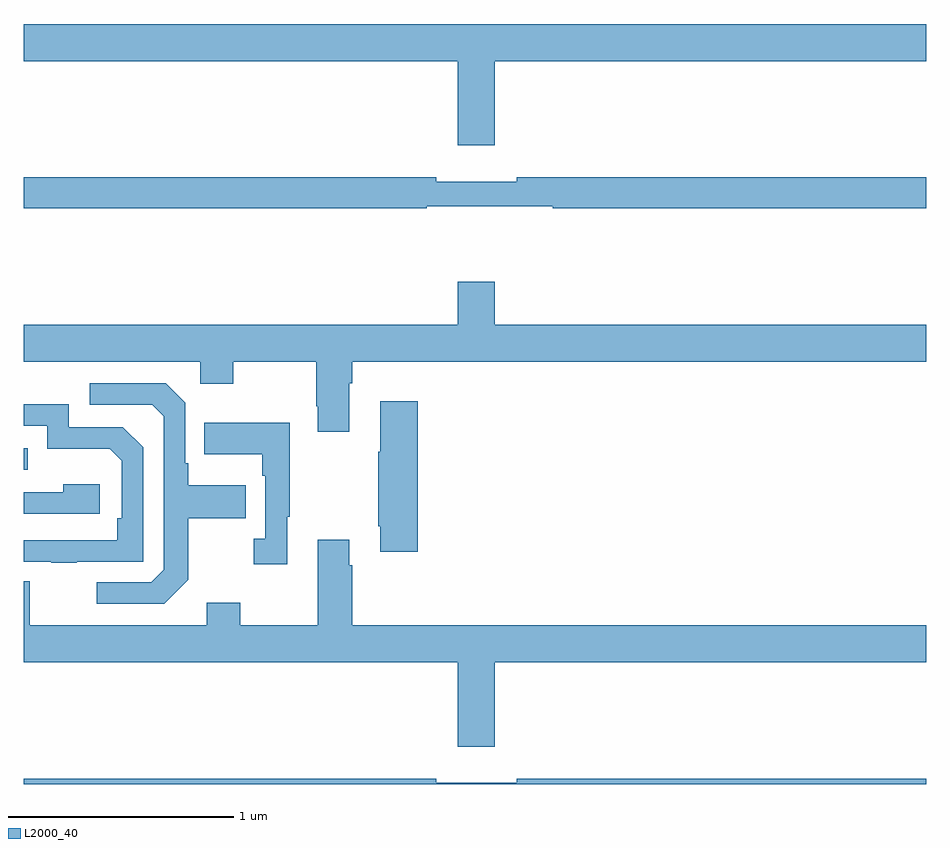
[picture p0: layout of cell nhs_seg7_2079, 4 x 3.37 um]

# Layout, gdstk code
import gdstk
lib = gdstk.Library(unit=1e-6, precision=1e-09)
def R(c, l, rs):  # rectangles x0, y0, x1, y1
    for r in rs: c.add(gdstk.rectangle(r[:2], r[2:], *l))
def P(c, l, *ps):  # polygons
    for p in ps: c.add(gdstk.Polygon(p, *l))
L2000_40 = (2000, 40)

nhs_seg7_2079 = lib.new_cell('nhs_seg7_2079')
R(nhs_seg7_2079, L2000_40, [(247,1077.393,247.019,1077.489)])
P(nhs_seg7_2079, L2000_40, [(249.088,1079.204),(251,1079.204),(251,1079.368),(247,1079.368),(247,1079.204),(248.924,1079.204),(248.924,1078.83),(249.088,1078.83)],
  [(248.787,1078.56),(249.345,1078.56),(249.345,1078.552),(251,1078.552),(251,1078.688),(249.184,1078.688),(249.184,1078.669),(248.828,1078.669),(248.828,1078.688),(247,1078.688),(247,1078.552),(248.787,1078.552)],
  [(248.443,1077.776),(248.456,1077.776),(248.456,1077.872),(251,1077.872),(251,1078.036),(249.088,1078.036),(249.088,1078.225),(248.924,1078.225),(248.924,1078.036),(247,1078.036),(247,1077.872),(247.782,1077.872),(247.782,1077.773),(247.929,1077.773),(247.929,1077.872),(248.296,1077.872),(248.296,1077.673),(248.303,1077.673),(248.303,1077.561),(248.443,1077.561)],
  [(247.729,1076.905),(247.729,1077.178),(247.985,1077.178),(247.985,1077.325),(247.729,1077.325),(247.729,1077.421),(247.716,1077.421),(247.716,1077.69),(247.629,1077.777),(247.293,1077.777),(247.293,1077.681),(247.569,1077.681),(247.62,1077.63),(247.62,1076.949),(247.566,1076.895),(247.323,1076.895),(247.323,1076.799),(247.623,1076.799)],
  [(248.747,1077.697),(248.579,1077.697),(248.579,1077.473),(248.572,1077.473),(248.572,1077.142),(248.579,1077.142),(248.579,1077.03),(248.747,1077.03)],
  [(247.235,1076.985),(247.53,1076.985),(247.53,1077.492),(247.44,1077.582),(247.2,1077.582),(247.2,1077.684),(247,1077.684),(247,1077.588),(247.104,1077.588),(247.104,1077.485),(247.381,1077.485),(247.434,1077.432),(247.434,1077.178),(247.414,1077.178),(247.414,1077.081),(247,1077.081),(247,1076.985),(247.123,1076.985),(247.123,1076.98),(247.235,1076.98)],
  [(248.167,1077.185),(248.179,1077.185),(248.179,1077.601),(247.801,1077.601),(247.801,1077.461),(248.058,1077.461),(248.058,1077.365),(248.07,1077.365),(248.07,1077.086),(248.019,1077.086),(248.019,1076.973),(248.167,1076.973)],
  [(247.336,1077.328),(247.175,1077.328),(247.175,1077.294),(247,1077.294),(247,1077.198),(247.336,1077.198)],
  [(249.088,1076.54),(251,1076.54),(251,1076.704),(248.456,1076.704),(248.456,1076.969),(248.443,1076.969),(248.443,1077.082),(248.303,1077.082),(248.303,1076.704),(247.959,1076.704),(247.959,1076.803),(247.811,1076.803),(247.811,1076.704),(247.027,1076.704),(247.027,1076.899),(247,1076.899),(247,1076.54),(248.924,1076.54),(248.924,1076.166),(249.088,1076.166)],
  [(251,1076.024),(249.184,1076.024),(249.184,1076.005),(248.828,1076.005),(248.828,1076.024),(247,1076.024),(247,1076),(251,1076)])

lib.write_gds('nhs_seg7_2079.gds')
